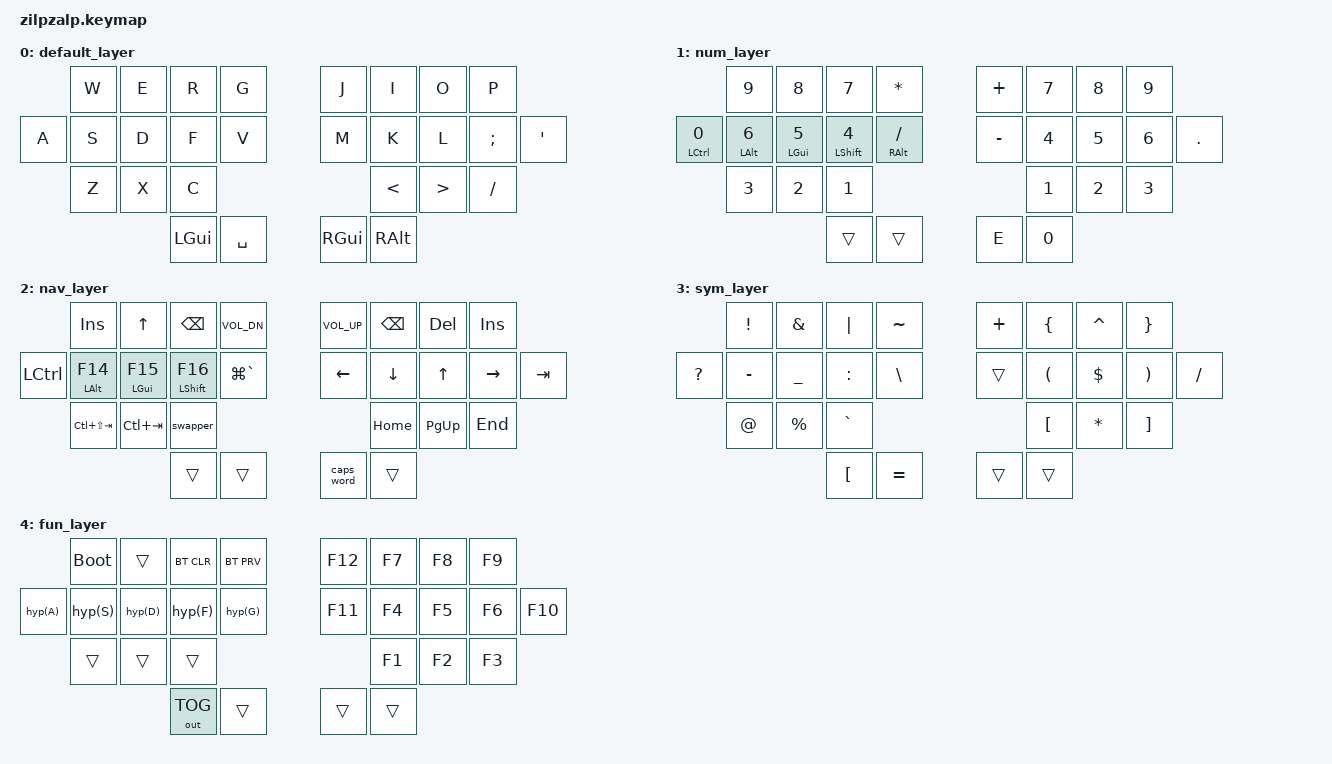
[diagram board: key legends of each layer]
#include "../zmk-nodefree-config/helper.h"
#include "keypos.h"
#include "base_zilpzalp.h"

// zilpzalp key numbers
//     __________________________  __________________________
//    /     0  |  1  |  2  |  3  \/   4 |   5 |   6 |   7    \
// |  8  |  9  | 10  | 11  | 12  /\  13 |  14 |  15 |  16 | 17  |
//    \    18  | 19  | 20    /        \    21 |  22 |  23   /
//          \    24  | 25  /            \  26 |  27    /
//           --------------              --------------
//
//           ╭─────────────────┬─────────────────╮
//   ╭───────╯ LT3 LT2 LT1 LT0 │ RT0 RT1 RT2 RT3 ╰───────╮
//  │      LM4 LM3 LM2 LM1 LM0 │ RM0 RM1 RM2 RM3 RM4     │
//  ╰───╮         LB2 LB1 LB0 │ RB0 RB1 RB2         ╭───╯
//      ╰───────────╮ LH1 LH0 │ RH0 RH1 ╭───────────╯
//                  ╰─────────┴─────────╯             */


#define ___ &trans

#define DEF 0  // layer shortcuts, must match order in which they are defined below
#define NUM 1
#define NAV 2
#define SYM 3
#define FUN 4

#define KEYS_L LT0 LT1 LT2 LT3 LM0 LM1 LM2 LM3 LM4 LB0 LB1 LB2
#define KEYS_R RT0 RT1 RT2 RT3 RM0 RM1 RM2 RM3 RM4 RB0 RB1 RB2
#define THUMBS LH1 LH0 RH0 RH1

#define meh(x) LS(LC(LA(x)))
#define hyp(x) LS(LC(LA(LG(x))))



ZMK_BEHAVIOR(hml, hold_tap,  // left-hand HRMs
    flavor = "balanced";
    tapping-term-ms = <250>;
    quick-tap-ms = <150>;
    hold-trigger-on-release;
    require-prior-idle-ms = <100>;
    bindings = <&kp>, <&kp>;
    hold-trigger-key-positions = <KEYS_R THUMBS>;
)

// one handed app switcher
ZMK_BEHAVIOR(swapper, tri_state,
    bindings = <&kt LGUI>, <&kp TAB>, <&kt LGUI>;
    ignored-key-positions = <LT2>;
)

ZMK_BEHAVIOR(hmr, hold_tap,  // right-hand HRMs
    flavor = "balanced";
    tapping-term-ms = <250>;
    quick-tap-ms = <150>;
    hold-trigger-on-release;
    require-prior-idle-ms = <100>;
    bindings = <&kp>, <&kp>;
    hold-trigger-key-positions = <KEYS_L THUMBS>;
)



ZMK_BEHAVIOR(bs_del_num, mod_morph,
    bindings = <&lt NUM BSPC>, <&kp DEL>;
    mods = <(MOD_LSFT|MOD_RSFT)>;
)

ZMK_BEHAVIOR(ss_cw, tap_dance,
    tapping-term-ms = <200>;
    bindings = <&sk LSHFT>, <&mo FUN>;
)

ZMK_COMBO(ld, &bootloader, LT0 RT0, ALL, 25)

ZMK_LAYER(default_layer,
                   &kp W     &kp E     &kp R    &kp G                &kp J     &kp I     &kp O     &kp P
          &kp A    &kp S     &kp D     &kp F    &kp V                &kp M     &kp K     &kp L     &kp SEMI    &kp SQT
                   &kp Z     &kp X     &kp C                                   &kp LT    &kp GT    &kp FSLH
                                       &kp LGUI &kp SPACE            &kp RGUI  &kp RALT
)


ZMK_LAYER(num_layer,
                          &kp N9         &kp N8         &kp N7         &kp ASTERISK   &kp PLUS       &kp N7         &kp N8         &kp N9
          &hml LCTRL N0   &hml LALT N6    &hml LGUI N5    &hml LSHFT N4   &hml RALT SLASH &kp MINUS      &kp N4         &kp N5         &kp N6         &kp DOT
                          &kp N3         &kp N2         &kp N1                                       &kp N1         &kp N2         &kp N3
                                                        &trans         &trans         &kp E          &kp N0
)

ZMK_LAYER(nav_layer,
                          &kp INSERT     &kp UP         &kp BSPC        &kp C_VOL_DN   &kp C_VOL_UP   &kp BSPC       &kp DEL        &kp INSERT
          &kp LCTRL       &hml LALT F14  &hml LGUI F15  &hml LSHFT F16  &kp LG(GRAVE)  &kp LEFT       &kp DOWN       &kp UP         &kp RIGHT      &kp TAB
                          &kp LC(LS(TAB))       &kp LC(TAB)    &swapper                                       &kp HOME       &kp PG_UP      &kp END
                                                        &trans         &trans         &caps_word             &trans
)

ZMK_LAYER(sym_layer,
                          &kp EXCL       &kp AMPS         &kp PIPE        &kp TILDE           &kp PLUS  &kp LBRC   &kp CARET    &kp RBRC
          &kp QMARK       &kp MINUS      &kp UNDERSCORE   &kp COLON       &kp BSLH            ___       &kp LPAR   &kp DOLLAR   &kp RPAR    &kp SLASH
                          &kp AT         &kp PERCENT      &kp GRAVE                                     &kp LBKT   &kp STAR     &kp RBKT
                                                          &kp LBKT         &kp EQUAL          &trans   &trans
)


ZMK_LAYER(fun_layer,
                       &bootloader    &trans         &bt BT_CLR     &bt BT_PRV     &kp F12        &kp F7         &kp F8         &kp F9
        &kp hyp(A)         &kp hyp(S)         &kp hyp(D)         &kp hyp(F)         &kp hyp(G)     &kp F11        &kp F4         &kp F5         &kp F6         &kp F10
                       &trans         &trans         &trans                                       &kp F1         &kp F2         &kp F3
                                                      &out OUT_TOG   &trans         &trans         &trans
)

//     __________________________  __________________________
//    /     1  |  2  |  3  |  4  \/   5 |   6 |   7 |   8    \
// | 10  | 11  | 12  | 13  | 14  ||  15 |  16 |  17 |  18 | 19  |
//    \    20  | 21  | 22  |     ||     |  23 |  24 |  25   /
//                \    26  | 27  /\  28 |  29    /
//                 --------------  --------------
